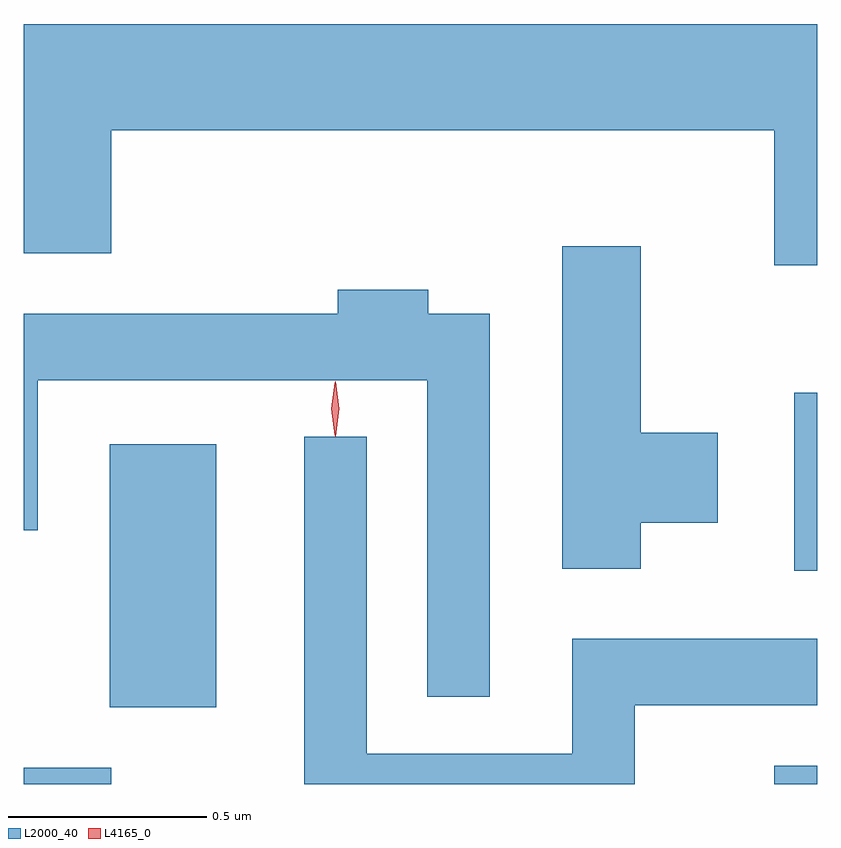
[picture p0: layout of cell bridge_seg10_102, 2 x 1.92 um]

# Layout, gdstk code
import gdstk
lib = gdstk.Library(unit=1e-6, precision=1e-09)
def R(c, l, rs):  # rectangles x0, y0, x1, y1
    for r in rs: c.add(gdstk.rectangle(r[:2], r[2:], *l))
def P(c, l, *ps):  # polygons
    for p in ps: c.add(gdstk.Polygon(p, *l))
L2000_40 = (2000, 40)
L4165_0 = (4165, 0)

bridge_seg10_102 = lib.new_cell('bridge_seg10_102')
R(bridge_seg10_102, L2000_40, [(1583.679,2194.408,1583.899,2194.449), (1585.571,2194.408,1585.679,2194.454), (1583.896,2194.601,1584.164,2195.264), (1585.621,2194.946,1585.679,2195.394)])
P(bridge_seg10_102, L2000_40, [(1585.679,2196.324),(1583.679,2196.324),(1583.679,2195.746),(1583.899,2195.746),(1583.899,2196.056),(1585.571,2196.056),(1585.571,2195.716),(1585.679,2195.716)],
  [(1585.234,2195.066),(1585.429,2195.066),(1585.429,2195.294),(1585.234,2195.294),(1585.234,2195.764),(1585.036,2195.764),(1585.036,2194.951),(1585.234,2194.951)],
  [(1584.854,2195.594),(1584.699,2195.594),(1584.699,2195.654),(1584.471,2195.654),(1584.471,2195.594),(1583.679,2195.594),(1583.679,2195.048),(1583.714,2195.048),(1583.714,2195.426),(1584.696,2195.426),(1584.696,2194.628),(1584.854,2194.628)],
  [(1585.219,2194.606),(1585.679,2194.606),(1585.679,2194.774),(1585.061,2194.774),(1585.061,2194.484),(1584.544,2194.484),(1584.544,2195.283),(1584.386,2195.283),(1584.386,2194.408),(1585.219,2194.408)])
P(bridge_seg10_102, L4165_0, [(1584.464,2195.284),(1584.464,2195.284),(1584.454,2195.354),(1584.464,2195.422),(1584.464,2195.423),(1584.465,2195.422),(1584.474,2195.354),(1584.465,2195.284)],
  [(1584.463,2195.287),(1584.454,2195.354),(1584.463,2195.42),(1584.464,2195.42),(1584.464,2195.42),(1584.473,2195.354),(1584.464,2195.287),(1584.464,2195.287)])

lib.write_gds('bridge_seg10_102.gds')
